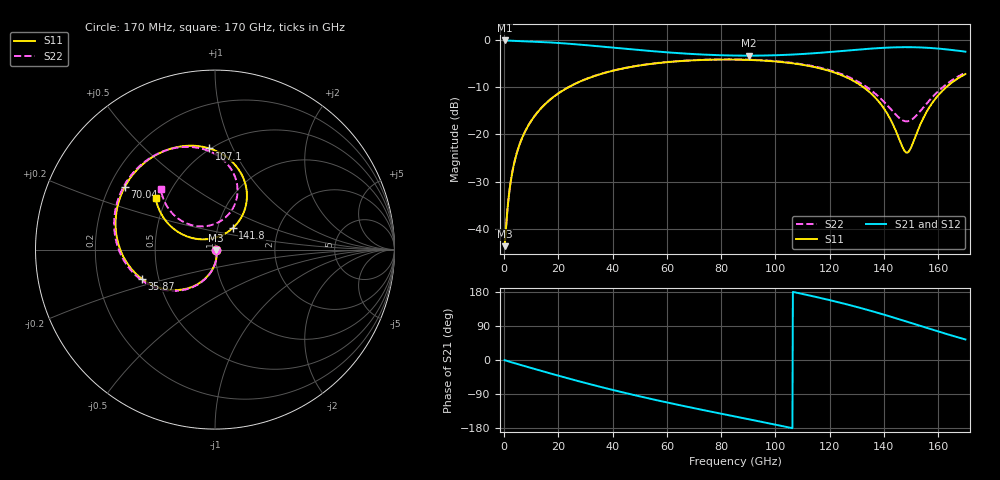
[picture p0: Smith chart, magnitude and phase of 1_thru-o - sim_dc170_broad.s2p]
! Touchstone file exported from HFSS 2024.2.0
!  File:  C:/Users/nathan/Desktop/Ansys_HFSS/OnWaferCal-Standards-2p5umM9.aedt
!  Generated:  11:39:03 PM May 21, 2025
!  Design:  1_thru-o
!  Project:  OnWaferCal-Standards-2p5umM9
!  Setup:  sim_dc170
!  Solution:  broad
! Variables:
!  IMD10A_h = 0.06um
!  IMD10B_h = 0.6um
!  IMD10C_h = 0.17um
!  IMD10D_h = 0.712um
!  IMD11A_h = 0.06um
!  IMD11B_h = 0.53um
!  IMD11C_h = 0.2um
!  IMD11D_h = 3.2um
!  IMD1A_h = 0.02um
!  IMD1B_h = 0.045um
!  IMD2t7A_h = 0.025um
!  IMD2t7B_h = 0.065um
!  IMD2t7C_h = 0.09um
!  Passivation1_h = 0.07um
!  Passivation2_h = 0.7um
!  Passivation3_h = 0.4um
!  Passivation4_h = 0.5um
!  landingpad_g_cut = 50um
!  landingpad_m8width_half = 1um
!  landingpad_m9transient_length = (55-1.71) um
!  landingpad_transient_length = 55um
!  landingpad_transition_width_half = 1um
!  landingpad_width_half = 1.25um
!  p1P9M1A1U_x = 0um
!  p1P9M1A1U_y = 0um
!  w1P9M1A1U_x = 552.5um
!  w1P9M1A1U_y = 552.5um
# GHz S MA R 50.000000
! Terminal data exported
! Port[1] = 1
! Port[2] = 2
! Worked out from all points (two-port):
!   1000 points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, 170 MHz to 170 GHz, reference 50 ohm
!   highest |S21| = -0.06 dB at 170 MHz (marker M1); lowest = -3.3 dB at 90.1 GHz (marker M2)
!   |S21| within 3 dB of the highest: start of sweep to 73.56 GHz; 106 GHz to end of sweep
!   lowest |S11| = -43.7 dB at 170 MHz (marker M3), VSWR 1.01, Z = 50.6 - j0.134 ohm
!   |S11| at or under -10 dB: start of sweep to 23.66 GHz; 132.5 GHz to 162.9 GHz (30.43 GHz wide, 20.6 % of centre)
!   |S22| runs from -43.7 to -4.1 dB; largest |S21 - S12| = 5e-14
!   S11 on the Smith chart (normalised r, x): 170 MHz: 1.01, -0.00; 35.87 GHz: 0.40, -0.16; 70.04 GHz: 0.26, +0.29; 107.1 GHz: 0.49, +0.82; 141.8 GHz: 1.18, +0.29; 170 GHz: 0.44, +0.31
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0.17  0.006516 -11.7  0.9936 -0.4  0.9936 -0.4  0.006524 -11.7
! Gamma 0 0 0 0
! Port Impedance 50 0 50 0
2.04  0.02645 -69.4  0.9884 -4.6  0.9884 -4.6  0.02651 -69.3
3.23  0.04293 -78.5  0.9853 -7.1  0.9853 -7.1  0.04304 -78.4
5.1  0.06974 -87.6  0.9811 -11.0  0.9811 -11.0  0.06995 -87.3
7.65  0.1063 -96.4  0.9755 -16.3  0.9755 -16.3  0.1067 -96.1
15.98  0.2212 -117.7  0.9505 -33.4  0.9505 -33.4  0.2219 -117.1
28.56  0.3701 -144.4  0.8942 -58.1  0.8942 -58.1  0.3713 -143.3
35.87  0.4398 -158.4  0.8563 -71.6  0.8563 -71.6  0.4413 -157.1
46.41  0.5182 -177.3  0.8025 -90.0  0.8025 -90.0  0.5202 -175.5
56.78  0.572 165.6  0.756 -106.9  0.756 -106.9  0.5744 167.8
70.04  0.6119 145.4  0.7117 -127.2  0.7117 -127.2  0.6149 148.1
85.17  0.6224 123.7  0.6869 -149.2  0.6869 -149.2  0.6262 127.2
90.1  0.6177 116.9  0.6852 -156.3  0.6852 -156.3  0.6219 120.6
107.1  0.5643 93.1  0.706 178.7  0.706 178.7  0.5706 98.3
113.39  0.5259 84.1  0.7241 168.9  0.7241 168.9  0.5335 90.2
130.9  0.3397 58.4  0.7959 138.2  0.7959 138.2  0.3564 69.4
137.02  0.2415 51.2  0.8208 125.9  0.8208 125.9  0.2669 66.4
141.78  0.1555 50.5  0.8354 115.9  0.8354 115.9  0.1951 70.9
147.05  0.07089 79.7  0.8433 104.2  0.8433 104.2  0.1404 93.8
148.75  0.0644 107.6  0.8436 100.4  0.8436 100.4  0.1379 105.6
158.44  0.2291 154.4  0.8217 78.7  0.8217 78.7  0.2597 139.8
170  0.4371 139.2  0.7555 54.3  0.7555 54.3  0.4521 131.9
